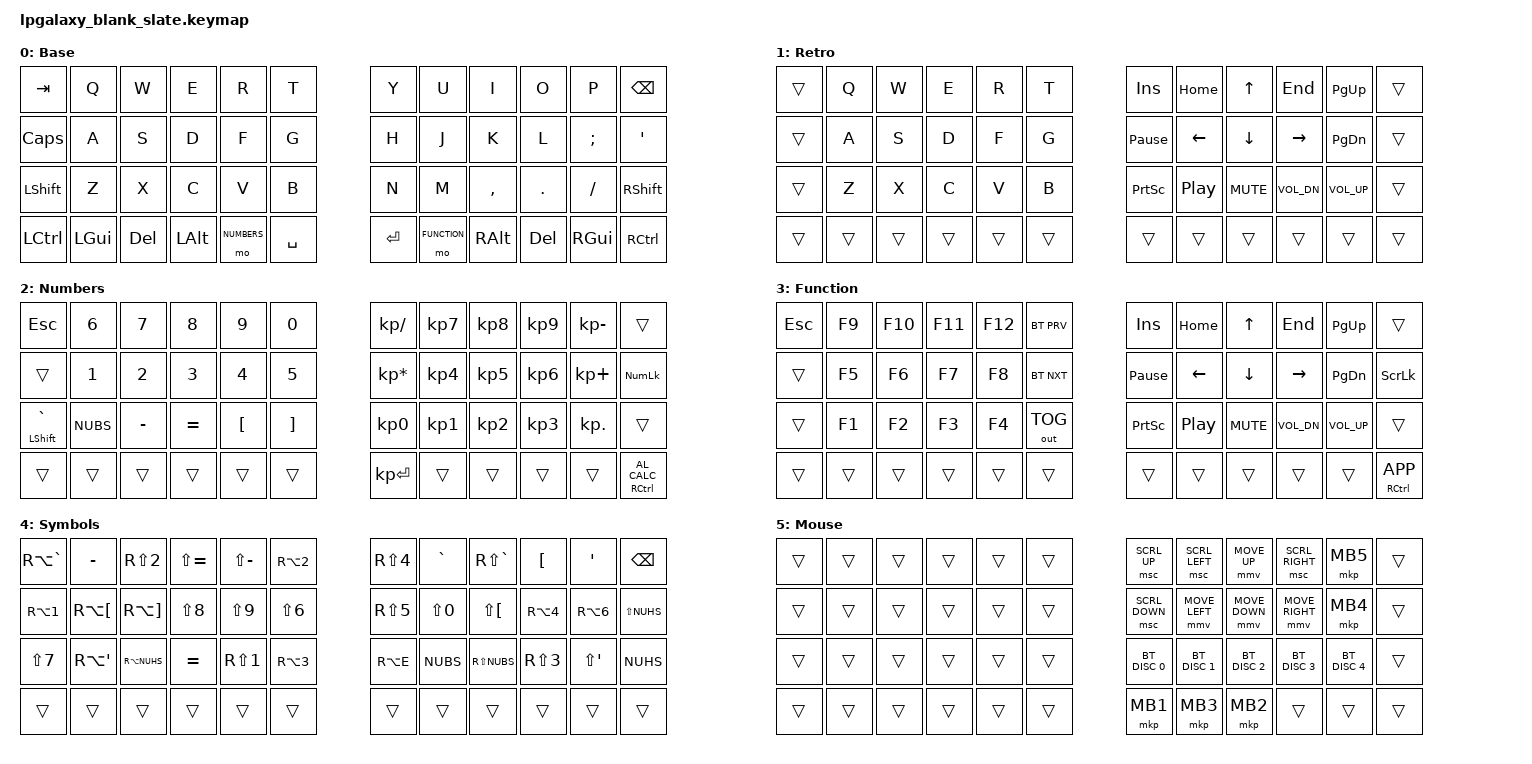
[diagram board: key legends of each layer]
/*
 * Copyright (c) 2020 The ZMK Contributors
 *
 * SPDX-License-Identifier: MIT
 */

#include <behaviors.dtsi>
#include <dt-bindings/zmk/keys.h>
#include <dt-bindings/zmk/bt.h>
#include <dt-bindings/zmk/outputs.h>

#define ZMK_POINTING_DEFAULT_MOVE_VAL 1500  // default: 600
#define ZMK_POINTING_DEFAULT_SCRL_VAL 20    // default: 10
#include <dt-bindings/zmk/pointing.h>

#define BASE 0
#define RETRO 1
#define NUMBERS 2
#define FUNCTION 3
#define SYMBOLS 4
#define MOUSE 5

#define KEY_TAB 0
#define KEY_BACKSPACE 11
#define KEY_CAPS 12
#define KEY_TILDE 23
#define KEY_LSHIFT 24
#define KEY_RSHIFT 35
#define KEY_LCTRL 36
#define KEY_WIN 37
#define KEY_LDEL 38
#define KEY_LALT 39
#define KEY_NUMBERS 40
#define KEY_SPACE 41
#define KEY_ENTER 42
#define KEY_FUNCTION 43
#define KEY_RALT 44
#define KEY_RDEL 45
#define KEY_RGUI 46
#define KEY_RCTRL 47

&mt {
    tapping-term-ms = <100>;
};

&lt {
    tapping-term-ms = <200>;
};

/ {
	    chosen {
	       zmk,physical-layout =
	                       // &layout_ortho_4x12_2x2u;
	                       // &layout_ortho_4x12_1x2u;
	                       &layout_ortho_4x12_all1u;
	    };

        combos {
                compatible = "zmk,combos";
                combo_mo_function {
                    timeout-ms = <50>;
                    key-positions = <KEY_LALT KEY_NUMBERS>;
                    slow-release;
                    bindings = <&mo FUNCTION>;
                    layers = <BASE>;
                };
                combo_mo_numbers {
                    timeout-ms = <50>;
                    key-positions = <KEY_FUNCTION KEY_RALT>;
                    slow-release;
                    bindings = <&mo NUMBERS>;
                    layers = <BASE>;
                };
                combo_mo_mouse {
                    timeout-ms = <50>;
                    key-positions = <KEY_NUMBERS KEY_SPACE>;
                    slow-release;
                    bindings = <&mo MOUSE>;
                    layers = <BASE>;
                };
                combo_to_mouse {
                    timeout-ms = <50>;
                    key-positions = <KEY_ENTER KEY_FUNCTION KEY_RALT>;
                    bindings = <&to MOUSE>;
                    layers = <BASE>;
                };
                combo_to_base {
                    timeout-ms = <50>;
                    key-positions = <KEY_LALT KEY_NUMBERS KEY_SPACE>;
                    bindings = <&to BASE>;
                    layers = <MOUSE RETRO>;
                };
                combo_to_base_alt {
                    timeout-ms = <50>;
                    key-positions = <KEY_ENTER KEY_FUNCTION KEY_RALT>;
                    bindings = <&to BASE>;
                    layers = <MOUSE RETRO>;
                };
                combo_to_base_alt2 {
                    timeout-ms = <50>;
                    key-positions = <KEY_CAPS KEY_TILDE>;
                    bindings = <&to BASE>;
                    layers = <MOUSE RETRO>;
                };
                combo_caps_word {
                    timeout-ms = <50>;
                    key-positions = <KEY_LSHIFT KEY_RSHIFT>;
                    bindings = <&caps_word>;
                    layers = <BASE>;
                };
                combo_bt_clr {
                    timeout-ms = <50>;
                    key-positions = <KEY_TAB KEY_BACKSPACE>;
                    bindings = <&bt BT_CLR>;
                    layers = <FUNCTION>;
                };
                combo_retro {
                    timeout-ms = <50>;
                    key-positions = <KEY_CAPS KEY_TILDE>;
                    bindings = <&to RETRO>;
                    layers = <BASE>;
                };
        };

        
        conditional_layers {
            compatible = "zmk,conditional-layers";
            tri_layer {
                if-layers = <NUMBERS FUNCTION>;
                then-layer = <SYMBOLS>;
            };
        };

        keymap {
                compatible = "zmk,keymap";

                base {
                        display-name = "Base";
                        bindings = <
   &kp TAB             &kp Q               &kp W               &kp E               &kp R               &kp T                                   &kp Y               &kp U               &kp I               &kp O               &kp P               &kp BSPC
   &kp CAPS            &kp A               &kp S               &kp D               &kp F               &kp G                                   &kp H               &kp J               &kp K               &kp L               &kp SEMI            &kp SQT
   &kp LSHIFT          &kp Z               &kp X               &kp C               &kp V               &kp B                                   &kp N               &kp M               &kp COMMA           &kp DOT             &kp FSLH            &kp RSHFT
   &kp LCTRL           &kp LGUI            &kp DEL             &kp LALT            &mo NUMBERS         &kp SPACE                               &kp RET             &mo FUNCTION        &kp RALT            &kp DEL             &kp RGUI            &kp RCTRL
                        >;
                };

                retro {
                        display-name = "Retro";
                        bindings = <
   &trans              &kp Q               &kp W               &kp E               &kp R               &kp T                                   &kp INS             &kp HOME            &kp UP              &kp END              &kp PG_UP           &trans
   &trans              &kp A               &kp S               &kp D               &kp F               &kp G                                   &kp PAUSE_BREAK     &kp LEFT            &kp DOWN            &kp RIGHT            &kp PG_DN           &trans
   &trans              &kp Z               &kp X               &kp C               &kp V               &kp B                                   &kp PSCRN           &kp C_PP            &kp C_MUTE          &kp C_VOL_DN         &kp C_VOL_UP        &trans
   &trans              &trans              &trans              &trans              &trans              &trans                                  &trans              &trans              &trans              &trans               &trans              &trans
                        >;
                };

                numbers {
                        display-name = "Numbers";
                        bindings = <
   &kp ESC             &kp N6              &kp N7              &kp N8              &kp N9              &kp N0                                  &kp KP_SLASH        &kp KP_N7           &kp KP_N8           &kp KP_N9           &kp KP_MINUS        &trans
   &trans              &kp N1              &kp N2              &kp N3              &kp N4              &kp N5                                  &kp KP_ASTERISK     &kp KP_N4           &kp KP_N5           &kp KP_N6           &kp KP_PLUS         &kp KP_NUMLOCK
   &mt LSHIFT GRAVE    &kp NUBS            &kp MINUS           &kp EQUAL           &kp LBKT            &kp RBKT                                &kp KP_N0           &kp KP_N1           &kp KP_N2           &kp KP_N3           &kp KP_DOT          &trans
   &trans              &trans              &trans              &trans              &trans              &trans                                  &kp KP_ENTER        &trans              &trans              &trans              &trans              &mt RCTRL C_AL_CALC
                        >;
                };

                function {
                        display-name = "Function";
                        bindings = <
   &kp ESC             &kp F9              &kp F10             &kp F11             &kp F12             &bt BT_PRV                              &kp INS             &kp HOME            &kp UP              &kp END              &kp PG_UP           &trans
   &trans              &kp F5              &kp F6              &kp F7              &kp F8              &bt BT_NXT                              &kp PAUSE_BREAK     &kp LEFT            &kp DOWN            &kp RIGHT            &kp PG_DN           &kp SCROLLLOCK
   &trans              &kp F1              &kp F2              &kp F3              &kp F4              &out OUT_TOG                            &kp PSCRN           &kp C_PP            &kp C_MUTE          &kp C_VOL_DN         &kp C_VOL_UP        &trans
   &trans              &trans              &trans              &trans              &trans              &trans                                  &trans              &trans              &trans              &trans               &trans              &mt RCTRL K_APP
                        >;
                };

                symbols {
                        display-name = "Symbols";
                        bindings = <
   &kp RA(GRAVE)       &kp MINUS           &kp RS(N2)          &kp LS(EQUAL)       &kp LS(MINUS)       &kp RA(N2)                              &kp RS(N4)          &kp GRAVE           &kp RS(GRAVE)       &kp LBKT            &kp SQT             &kp BSPC
   &kp RA(N1)          &kp RA(LBKT)        &kp RA(RBKT)        &kp LS(N8)          &kp LS(N9)          &kp LS(N6)                              &kp RS(N5)          &kp LS(N0)          &kp LS(LBKT)        &kp RA(N4)          &kp RA(N6)          &kp LS(NUHS)
   &kp LS(N7)          &kp RA(SQT)         &kp RA(NUHS)        &kp EQUAL           &kp RS(N1)          &kp RA(N3)                              &kp RA(E)           &kp NUBS            &kp RS(NUBS)        &kp RS(N3)          &kp LS(SQT)         &kp NUHS
   &trans              &trans              &trans              &trans              &trans              &trans                                  &trans              &trans              &trans              &trans              &trans              &trans
                        >;
                };

                mouse {
                        display-name = "Mouse";
                        bindings = <
   &trans              &trans              &trans              &trans              &trans              &trans                                  &msc SCRL_UP        &msc SCRL_LEFT      &mmv MOVE_UP        &msc SCRL_RIGHT        &mkp MB5            &trans              
   &trans              &trans              &trans              &trans              &trans              &trans                                  &msc SCRL_DOWN      &mmv MOVE_LEFT      &mmv MOVE_DOWN      &mmv MOVE_RIGHT        &mkp MB4            &trans              
   &trans              &trans              &trans              &trans              &trans              &trans                                  &bt BT_DISC 0       &bt BT_DISC 1       &bt BT_DISC 2       &bt BT_DISC 3          &bt BT_DISC 4       &trans              
   &trans              &trans              &trans              &trans              &trans              &trans                                  &mkp MB1            &mkp MB3            &mkp MB2            &trans                 &trans              &trans
                        >;
                };

        };
};
